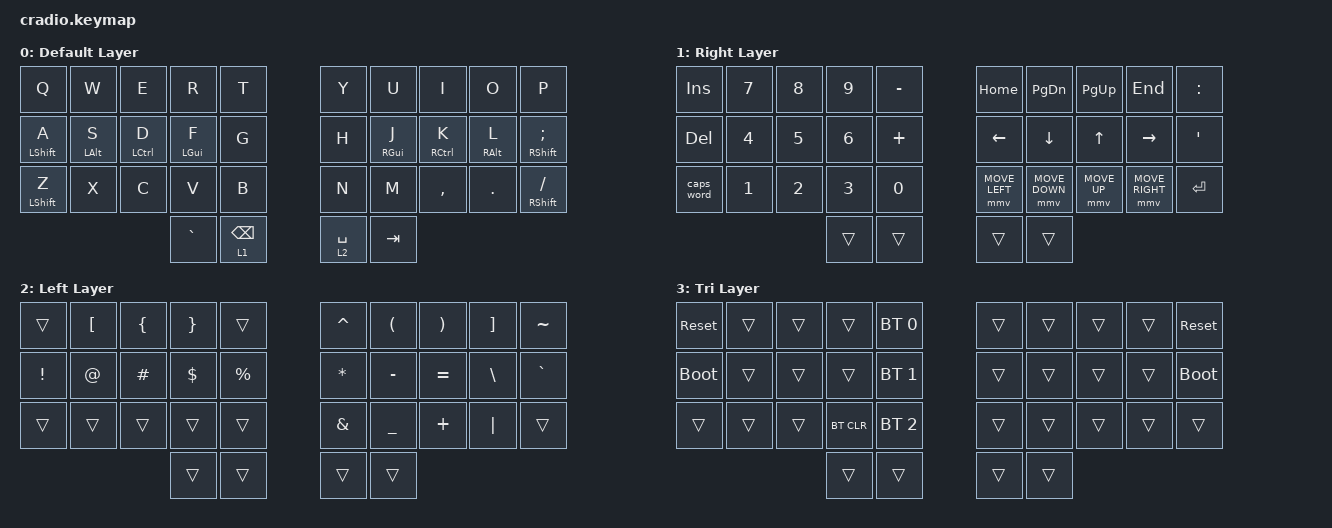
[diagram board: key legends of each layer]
// Copyright (c) 2022 The ZMK Contributors
// SPDX-License-Identifier: MIT

#include <behaviors.dtsi>
#include <dt-bindings/zmk/keys.h>
#include <dt-bindings/zmk/bt.h>


/ {
    behaviors {
        ht: hold_tap {
            compatible = "zmk,behavior-hold-tap";
            #binding-cells = <2>;
            flavor = "tap-preferred";
            tapping-term-ms = <220>;
            quick-tap-ms = <150>;
            require-prior-idle-ms = <100>;
            bindings = <&kp>, <&kp>;
        };
    };

    conditional_layers {
        compatible = "zmk,conditional-layers";
        tri_layer {
            if-layers = <1 2>;
            then-layer = <3>;
        };
    };

    keymap {
        compatible = "zmk,keymap";
        default_layer {
            display-name = "Default Layer";
            bindings = <
        //╭──────────┬──────────┬──────────┬──────────┬──────────╮   ╭──────────┬──────────┬──────────┬──────────┬──────────╮
        //│  Q       │  W       │  E       │  R       │  T       │   │  Y       │  U       │  I       │  O       │  P       │
            &kp Q      &kp W      &kp E      &kp R      &kp T          &kp Y      &kp U      &kp I      &kp O      &kp P
        //├──────────┼──────────┼──────────┼──────────┼──────────┤   ├──────────┼──────────┼──────────┼──────────┼──────────┤
        //│  A       │  S       │  D       │  F       │  G       │   │  H       │  J       │  K       │  L       │  ;       │
         &mt LSHFT A &mt LALT S &mt LCTRL D &mt LGUI F &kp G         &kp H     &mt RGUI J   &mt RCTRL K  &mt RALT L  &mt RSHFT SEMI
        //├──────────┼──────────┼──────────┼──────────┼──────────┤   ├──────────┼──────────┼──────────┼──────────┼──────────┤
        //│  Z       │  X       │  C       │  V       │  B       │   │  N       │  M       │ , <      │ . >      │ / ?      │
        &mt LSHIFT Z      &kp X      &kp C      &kp V      &kp B          &kp N      &kp M      &kp COMMA  &kp DOT    &mt RSHIFT FSLH
        //╰──────────┴──────────┴──────────┼──────────┼──────────┤   ├──────────┼──────────┼──────────┴──────────┴──────────╯
                                            &kp GRAVE  &lt 1 BSPC     &lt 2 SPACE  &kp TAB
        //                                 ╰──────────┴──────────╯   ╰──────────┴──────────╯
            >;
        };

        right_layer {
            display-name = "Right Layer";
            bindings = <
        //╭──────────┬──────────┬──────────┬──────────┬──────────╮   ╭──────────┬──────────┬──────────┬──────────┬──────────╮
        //│ INSERT   │  7       │  8       │  9       │  -       │   │ HOME     │ PAGE DN  │ PAGE UP  │ END      │  :       │
            &kp INS    &kp N7     &kp N8     &kp N9     &kp MINUS     &kp HOME   &kp PG_DN  &kp PG_UP  &kp END    &kp COLON
        //├──────────┼──────────┼──────────┼──────────┼──────────┤   ├──────────┼──────────┼──────────┼──────────┼──────────┤
        //│ DELETE   │  4       │  5       │  6       │  +       │   │ LEFT     │ DOWN     │ UP       │ RIGHT    │  ;       │
            &kp DEL    &kp N4     &kp N5     &kp N6     &kp PLUS      &kp LEFT   &kp DOWN   &kp UP   &kp RIGHT   &kp SQT
        //├──────────┼──────────┼──────────┼──────────┼──────────┤   ├──────────┼──────────┼──────────┼──────────┼──────────┤
        //│ CAPS     │  1       │  2       │  3       │  0       │   │M LEFT    │M DOWN    │M UP      │M RIGHT   │   ENTER  │
           &caps_word  &kp N1     &kp N2     &kp N3     &kp N0     &mmv MOVE_LEFT &mmv MOVE_DOWN &mmv MOVE_UP &mmv MOVE_RIGHT &kp ENTER
        //╰──────────┴──────────┴──────────┼──────────┼──────────┤   ├──────────┼──────────┼──────────┴──────────┴──────────╯
                                             &trans     &trans         &trans     &trans
        //                                 ╰──────────┴──────────╯   ╰──────────┴──────────╯
            >;
        };

        left_layer {
            display-name = "Left Layer";
            bindings = <
        //╭──────────┬──────────┬──────────┬──────────┬──────────╮   ╭──────────┬──────────┬──────────┬──────────┬──────────╮
        //│          │  [       │  {       │  }       │          │   │  ^       │  (       │  )       │  ]       │  ~       │
            &trans     &kp LBKT   &kp LBRC   &kp RBRC   &trans         &kp CARET  &kp LPAR   &kp RPAR   &kp RBKT   &kp TILDE
        //├──────────┼──────────┼──────────┼──────────┼──────────┤   ├──────────┼──────────┼──────────┼──────────┼──────────┤
        //│  !       │  @       │  #       │  $       │  %       │   │  *       │  -       │  =       │  \       │  `       │
            &kp EXCL   &kp AT     &kp HASH   &kp DLLR   &kp PRCNT      &kp ASTRK  &kp MINUS  &kp EQUAL  &kp BSLH   &kp GRAVE
        //├──────────┼──────────┼──────────┼──────────┼──────────┤   ├──────────┼──────────┼──────────┼──────────┼──────────┤
        //│          │          │          │          │          │   │  &       │  _       │  +       │  │       │          │
            &trans     &trans     &trans     &trans     &trans         &kp AMPS   &kp UNDER  &kp PLUS   &kp PIPE   &trans
        //╰──────────┴──────────┴──────────┼──────────┼──────────┤   ├──────────┼──────────┼──────────┴──────────┴──────────╯
                                             &trans     &trans         &trans     &trans
        //                                 ╰──────────┴──────────╯   ╰──────────┴──────────╯
            >;
        };

        tri_layer {
            display-name = "Tri Layer";
            bindings = <
        //╭──────────┬──────────┬──────────┬──────────┬──────────╮   ╭──────────┬──────────┬──────────┬──────────┬──────────╮
        //│ RESET    │          │          │          │PROFILE 0 │   │          │          │          │          │  RESET   │
           &sys_reset  &trans     &trans     &trans    &bt BT_SEL 0    &trans     &trans     &trans     &trans    &sys_reset
        //├──────────┼──────────┼──────────┼──────────┼──────────┤   ├──────────┼──────────┼──────────┼──────────┼──────────┤
        //│BOOTLOADER│          │          │          │PROFILE 1 │   │          │          │          │          │BOOTLOADER│
          &bootloader  &trans     &trans     &trans    &bt BT_SEL 1    &trans     &trans     &trans     &trans    &bootloader
        //├──────────┼──────────┼──────────┼──────────┼──────────┤   ├──────────┼──────────┼──────────┼──────────┼──────────┤
        //│          │          │          │ CLEAR BT │PROFILE 2 │   │          │          │          │          │          │
            &trans     &trans     &trans    &bt BT_CLR &bt BT_SEL 2    &trans     &trans     &trans     &trans     &trans
        //╰──────────┴──────────┴──────────┼──────────┼──────────┤   ├──────────┼──────────┼──────────┴──────────┴──────────╯
                                             &trans     &trans         &trans     &trans
        //                                 ╰──────────┴──────────╯   ╰──────────┴──────────╯
            >;
        };
    };
};
